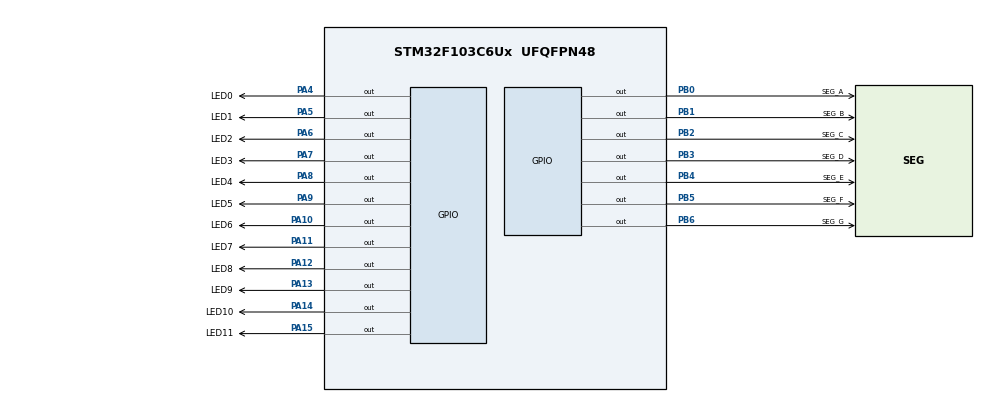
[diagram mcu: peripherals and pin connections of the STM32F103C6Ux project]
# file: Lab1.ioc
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Mcu.Family=STM32F1
Mcu.Name=STM32F103C6Ux
Mcu.Package=UFQFPN48
NVIC.PriorityGroup=NVIC_PRIORITYGROUP_4
PA10.GPIO_Label=LED6
PA10.Signal=GPIO_Output
PA11.GPIO_Label=LED7
PA11.Signal=GPIO_Output
PA12.GPIO_Label=LED8
PA12.Signal=GPIO_Output
PA13.GPIO_Label=LED9
PA13.Signal=GPIO_Output
PA14.GPIO_Label=LED10
PA14.Signal=GPIO_Output
PA15.GPIO_Label=LED11
PA15.Signal=GPIO_Output
PA4.GPIO_Label=LED0
PA4.Signal=GPIO_Output
PA5.GPIO_Label=LED1
PA5.Signal=GPIO_Output
PA6.GPIO_Label=LED2
PA6.Signal=GPIO_Output
PA7.GPIO_Label=LED3
PA7.Signal=GPIO_Output
PA8.GPIO_Label=LED4
PA8.Signal=GPIO_Output
PA9.GPIO_Label=LED5
PA9.Signal=GPIO_Output
PB0.GPIO_Label=SEG_A
PB0.Signal=GPIO_Output
PB1.GPIO_Label=SEG_B
PB1.Signal=GPIO_Output
PB2.GPIO_Label=SEG_C
PB2.Signal=GPIO_Output
PB3.GPIO_Label=SEG_D
PB3.Signal=GPIO_Output
PB4.GPIO_Label=SEG_E
PB4.Signal=GPIO_Output
PB5.GPIO_Label=SEG_F
PB5.Signal=GPIO_Output
PB6.GPIO_Label=SEG_G
PB6.Signal=GPIO_Output
ProjectManager.HeapSize=0x200
ProjectManager.StackSize=0x400
ProjectManager.TargetToolchain=STM32CubeIDE
RCC.APB1Freq_Value=8000000
RCC.APB2Freq_Value=8000000
VP_SYS_VS_ND.Mode=No_Debug
board=custom

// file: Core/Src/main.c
/* USER CODE BEGIN Header */
/**
  ******************************************************************************
  * @file           : main.c
  * @brief          : Main program body
  ******************************************************************************
  * @attention
  *
  * <h2><center>&copy; Copyright (c) 2026 STMicroelectronics.
  * All rights reserved.</center></h2>
  *
  * This software component is licensed by ST under BSD 3-Clause license,
  * the "License"; You may not use this file except in compliance with the
  * License. You may obtain a copy of the License at:
  *                        opensource.org/licenses/BSD-3-Clause
  *
  ******************************************************************************
  */
/* USER CODE END Header */
#include "main.h"

/* USER CODE BEGIN PD */
#define LED_ON  GPIO_PIN_RESET
#define LED_OFF GPIO_PIN_SET
/* USER CODE END PD */

void SystemClock_Config(void);
static void MX_GPIO_Init(void);

/* USER CODE BEGIN 0 */

void clearAllClock(void)
{
    HAL_GPIO_WritePin(LED0_GPIO_Port, LED0_Pin, LED_OFF);
    HAL_GPIO_WritePin(LED1_GPIO_Port, LED1_Pin, LED_OFF);
    HAL_GPIO_WritePin(LED2_GPIO_Port, LED2_Pin, LED_OFF);
    HAL_GPIO_WritePin(LED3_GPIO_Port, LED3_Pin, LED_OFF);
    HAL_GPIO_WritePin(LED4_GPIO_Port, LED4_Pin, LED_OFF);
    HAL_GPIO_WritePin(LED5_GPIO_Port, LED5_Pin, LED_OFF);
    HAL_GPIO_WritePin(LED6_GPIO_Port, LED6_Pin, LED_OFF);
    HAL_GPIO_WritePin(LED7_GPIO_Port, LED7_Pin, LED_OFF);
    HAL_GPIO_WritePin(LED8_GPIO_Port, LED8_Pin, LED_OFF);
    HAL_GPIO_WritePin(LED9_GPIO_Port, LED9_Pin, LED_OFF);
    HAL_GPIO_WritePin(LED10_GPIO_Port, LED10_Pin, LED_OFF);
    HAL_GPIO_WritePin(LED11_GPIO_Port, LED11_Pin, LED_OFF);
}

void setNumberOnClock(int num)
{
    switch (num)
    {
        case 0:
            HAL_GPIO_WritePin(LED0_GPIO_Port, LED0_Pin, LED_ON);
            break;

        case 1:
            HAL_GPIO_WritePin(LED1_GPIO_Port, LED1_Pin, LED_ON);
            break;

        case 2:
            HAL_GPIO_WritePin(LED2_GPIO_Port, LED2_Pin, LED_ON);
            break;

        case 3:
            HAL_GPIO_WritePin(LED3_GPIO_Port, LED3_Pin, LED_ON);
            break;

        case 4:
            HAL_GPIO_WritePin(LED4_GPIO_Port, LED4_Pin, LED_ON);
            break;

        case 5:
            HAL_GPIO_WritePin(LED5_GPIO_Port, LED5_Pin, LED_ON);
            break;

        case 6:
            HAL_GPIO_WritePin(LED6_GPIO_Port, LED6_Pin, LED_ON);
            break;

        case 7:
            HAL_GPIO_WritePin(LED7_GPIO_Port, LED7_Pin, LED_ON);
            break;

        case 8:
            HAL_GPIO_WritePin(LED8_GPIO_Port, LED8_Pin, LED_ON);
            break;

        case 9:
            HAL_GPIO_WritePin(LED9_GPIO_Port, LED9_Pin, LED_ON);
            break;

        case 10:
            HAL_GPIO_WritePin(LED10_GPIO_Port, LED10_Pin, LED_ON);
            break;

        case 11:
            HAL_GPIO_WritePin(LED11_GPIO_Port, LED11_Pin, LED_ON);
            break;

        default:
            break;
    }
}

void clearNumberOnClock(int num)
{
    switch (num)
    {
        case 0:
            HAL_GPIO_WritePin(LED0_GPIO_Port, LED0_Pin, LED_OFF);
            break;

        case 1:
            HAL_GPIO_WritePin(LED1_GPIO_Port, LED1_Pin, LED_OFF);
            break;

        case 2:
            HAL_GPIO_WritePin(LED2_GPIO_Port, LED2_Pin, LED_OFF);
            break;

        case 3:
            HAL_GPIO_WritePin(LED3_GPIO_Port, LED3_Pin, LED_OFF);
            break;

        case 4:
            HAL_GPIO_WritePin(LED4_GPIO_Port, LED4_Pin, LED_OFF);
            break;

        case 5:
            HAL_GPIO_WritePin(LED5_GPIO_Port, LED5_Pin, LED_OFF);
            break;

        case 6:
            HAL_GPIO_WritePin(LED6_GPIO_Port, LED6_Pin, LED_OFF);
            break;

        case 7:
            HAL_GPIO_WritePin(LED7_GPIO_Port, LED7_Pin, LED_OFF);
            break;

        case 8:
            HAL_GPIO_WritePin(LED8_GPIO_Port, LED8_Pin, LED_OFF);
            break;

        case 9:
            HAL_GPIO_WritePin(LED9_GPIO_Port, LED9_Pin, LED_OFF);
            break;

        case 10:
            HAL_GPIO_WritePin(LED10_GPIO_Port, LED10_Pin, LED_OFF);
            break;

        case 11:
            HAL_GPIO_WritePin(LED11_GPIO_Port, LED11_Pin, LED_OFF);
            break;

        default:
            break;
    }
}

/* USER CODE END 0 */

int main(void)
{
  /* USER CODE BEGIN 1 */

  int hour = 6;
  int minute = 50;
  int second = 0;

  /* USER CODE END 1 */

  /* MCU Configuration--------------------------------------------------------*/

  /* Reset of all peripherals, Initializes the Flash interface and the Systick. */
  HAL_Init();

  /* Configure the system clock */
  SystemClock_Config();

  /* Initialize all configured peripherals */
  MX_GPIO_Init();
  /* USER CODE BEGIN 2 */
  clearAllClock();

  /* USER CODE END 2 */

  /* Infinite loop */
  /* USER CODE BEGIN WHILE */
while (1)
{

        clearAllClock();
        setNumberOnClock((hour % 12 + 1) % 12);
        setNumberOnClock((minute / 5 + 1) % 12);
        setNumberOnClock((second / 5 + 1) % 12);

        second++;
        if (second >= 60)
        {
            second = 0;
            minute++;
        }

        if (minute >= 60)
        {
            minute = 0;
            hour++;
        }

        if (hour >= 12)
        {
            hour = 0;
        }

    HAL_Delay(1000);
}
  /* USER CODE END 3 */
}

void SystemClock_Config(void)
{
  RCC_OscInitTypeDef RCC_OscInitStruct = {0};
  RCC_ClkInitTypeDef RCC_ClkInitStruct = {0};

  /** Initializes the RCC Oscillators according to the specified parameters
  * in the RCC_OscInitTypeDef structure.
  */
  RCC_OscInitStruct.OscillatorType = RCC_OSCILLATORTYPE_HSI;
  RCC_OscInitStruct.HSIState = RCC_HSI_ON;
  RCC_OscInitStruct.HSICalibrationValue = RCC_HSICALIBRATION_DEFAULT;
  RCC_OscInitStruct.PLL.PLLState = RCC_PLL_NONE;
  if (HAL_RCC_OscConfig(&RCC_OscInitStruct) != HAL_OK)
  {
    Error_Handler();
  }
  /** Initializes the CPU, AHB and APB buses clocks
  */
  RCC_ClkInitStruct.ClockType = RCC_CLOCKTYPE_HCLK|RCC_CLOCKTYPE_SYSCLK
                              |RCC_CLOCKTYPE_PCLK1|RCC_CLOCKTYPE_PCLK2;
  RCC_ClkInitStruct.SYSCLKSource = RCC_SYSCLKSOURCE_HSI;
  RCC_ClkInitStruct.AHBCLKDivider = RCC_SYSCLK_DIV1;
  RCC_ClkInitStruct.APB1CLKDivider = RCC_HCLK_DIV1;
  RCC_ClkInitStruct.APB2CLKDivider = RCC_HCLK_DIV1;

  if (HAL_RCC_ClockConfig(&RCC_ClkInitStruct, FLASH_LATENCY_0) != HAL_OK)
  {
    Error_Handler();
  }
}

static void MX_GPIO_Init(void)
{
  GPIO_InitTypeDef GPIO_InitStruct = {0};

  /* GPIO Ports Clock Enable */
  __HAL_RCC_GPIOA_CLK_ENABLE();
  __HAL_RCC_GPIOB_CLK_ENABLE();

  /*Configure GPIO pin Output Level */
  HAL_GPIO_WritePin(GPIOA, LED0_Pin|LED1_Pin|LED2_Pin|LED3_Pin
                          |LED4_Pin|LED5_Pin|LED6_Pin|LED7_Pin
                          |LED8_Pin|LED9_Pin|LED10_Pin|LED11_Pin, GPIO_PIN_RESET);

  /*Configure GPIO pin Output Level */
  HAL_GPIO_WritePin(GPIOB, SEG_A_Pin|SEG_B_Pin|SEG_C_Pin|SEG_D_Pin
                          |SEG_E_Pin|SEG_F_Pin|SEG_G_Pin, GPIO_PIN_RESET);

  /*Configure GPIO pins : LED0_Pin LED1_Pin LED2_Pin LED3_Pin
                           LED4_Pin LED5_Pin LED6_Pin LED7_Pin
                           LED8_Pin LED9_Pin LED10_Pin LED11_Pin */
  GPIO_InitStruct.Pin = LED0_Pin|LED1_Pin|LED2_Pin|LED3_Pin
                          |LED4_Pin|LED5_Pin|LED6_Pin|LED7_Pin
                          |LED8_Pin|LED9_Pin|LED10_Pin|LED11_Pin;
  GPIO_InitStruct.Mode = GPIO_MODE_OUTPUT_PP;
  GPIO_InitStruct.Pull = GPIO_NOPULL;
  GPIO_InitStruct.Speed = GPIO_SPEED_FREQ_LOW;
  HAL_GPIO_Init(GPIOA, &GPIO_InitStruct);

  /*Configure GPIO pins : SEG_A_Pin SEG_B_Pin SEG_C_Pin SEG_D_Pin
                           SEG_E_Pin SEG_F_Pin SEG_G_Pin */
  GPIO_InitStruct.Pin = SEG_A_Pin|SEG_B_Pin|SEG_C_Pin|SEG_D_Pin
                          |SEG_E_Pin|SEG_F_Pin|SEG_G_Pin;
  GPIO_InitStruct.Mode = GPIO_MODE_OUTPUT_PP;
  GPIO_InitStruct.Pull = GPIO_NOPULL;
  GPIO_InitStruct.Speed = GPIO_SPEED_FREQ_LOW;
  HAL_GPIO_Init(GPIOB, &GPIO_InitStruct);

}

void Error_Handler(void)
{
  __disable_irq();
  while (1)
  {
  }
}

/************************ (C) COPYRIGHT STMicroelectronics *****END OF FILE****/
